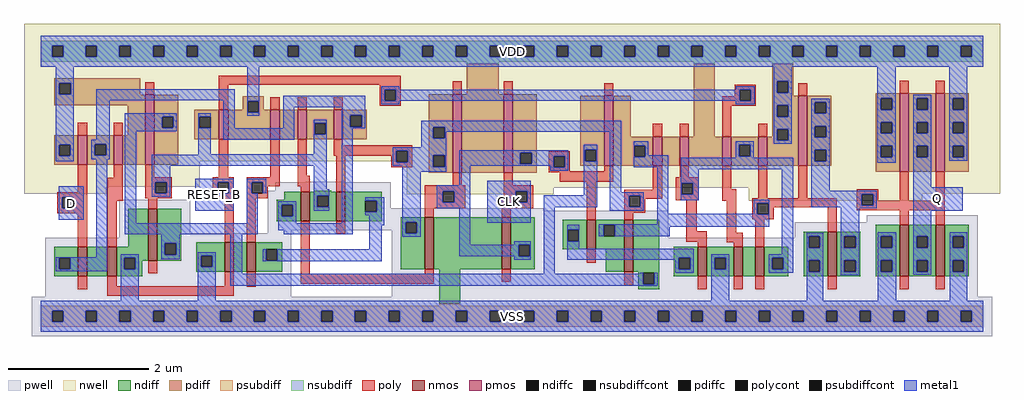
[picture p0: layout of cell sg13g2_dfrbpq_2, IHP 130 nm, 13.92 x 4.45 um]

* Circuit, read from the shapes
.subckt sg13g2_dfrbpq_2 CLK VSS D Q VDD RESET_B
XM1 n1 D n2 VSS sg13_lv_nmos w=0.42u l=0.13u
XM2 VSS RESET_B n1 VSS sg13_lv_nmos w=0.42u l=0.13u
XM3 n3 n4 VSS VSS sg13_lv_nmos w=0.74u l=0.13u
XM4 n5 RESET_B VSS VSS sg13_lv_nmos w=0.42u l=0.13u
XM5 n6 n3 n5 VSS sg13_lv_nmos w=0.42u l=0.13u
XM6 n4 n7 n2 VSS sg13_lv_nmos w=0.42u l=0.13u
XM7 n6 n8 n4 VSS sg13_lv_nmos w=0.42u l=0.13u
XM8 VSS n7 n8 VSS sg13_lv_nmos w=0.74u l=0.13u
XM9 n7 CLK VSS VSS sg13_lv_nmos w=0.74u l=0.13u
XM10 n9 n7 n10 VSS sg13_lv_nmos w=0.42u l=0.13u
XM11 n3 n8 n9 VSS sg13_lv_nmos w=0.74u l=0.13u
XM12 VSS n11 n10 VSS sg13_lv_nmos w=0.42u l=0.13u
XM13 n12 RESET_B VSS VSS sg13_lv_nmos w=0.42u l=0.13u
XM14 n11 n9 n12 VSS sg13_lv_nmos w=0.42u l=0.13u
XM15 n13 n9 VSS VSS sg13_lv_nmos w=0.64u l=0.13u
XM16 Q n13 VSS VSS sg13_lv_nmos w=0.74u l=0.13u m=2
XM17 n2 D VDD VDD sg13_lv_pmos w=0.42u l=0.13u
XM18 VDD RESET_B n2 VDD sg13_lv_pmos w=0.42u l=0.13u
XM19 n3 n4 VDD VDD sg13_lv_pmos w=1u l=0.13u
XM20 VDD RESET_B n4 VDD sg13_lv_pmos w=0.42u l=0.13u
XM21 n14 n3 VDD VDD sg13_lv_pmos w=0.42u l=0.13u
XM22 n4 n7 n14 VDD sg13_lv_pmos w=0.42u l=0.13u
XM23 n2 n8 n4 VDD sg13_lv_pmos w=0.42u l=0.13u
XM24 VDD n7 n8 VDD sg13_lv_pmos w=1.12u l=0.13u
XM25 n7 CLK VDD VDD sg13_lv_pmos w=1.12u l=0.13u
XM26 n9 n7 n3 VDD sg13_lv_pmos w=1u l=0.13u
XM27 n15 n8 n9 VDD sg13_lv_pmos w=0.42u l=0.13u
XM28 VDD n11 n15 VDD sg13_lv_pmos w=0.42u l=0.13u
XM29 n11 RESET_B VDD VDD sg13_lv_pmos w=0.42u l=0.13u
XM30 VDD n9 n11 VDD sg13_lv_pmos w=0.42u l=0.13u
XM31 n13 n9 VDD VDD sg13_lv_pmos w=1u l=0.13u
XM32 Q n13 VDD VDD sg13_lv_pmos w=1.12u l=0.13u m=2
.ends

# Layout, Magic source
magic
tech ihp-sg13g2
magscale 1 2
<< nwell >>
rect -48 443 2736 834
rect -48 370 454 443
rect -48 350 187 370
rect 1044 367 2736 443
rect 1044 348 1463 367
rect 2019 350 2736 367
rect 2019 330 2514 350
<< pwell >>
rect 755 382 855 384
rect 669 358 998 382
rect 223 237 426 333
rect 647 309 998 358
rect 647 301 1435 309
rect 647 246 1790 301
rect 2356 268 2673 288
rect 647 237 715 246
rect 223 224 715 237
rect 12 56 715 224
rect 1001 224 1790 246
rect 2150 224 2673 268
rect 1001 56 2673 224
rect -26 -56 2714 56
<< nmos >>
rect 106 114 132 198
rect 190 114 216 198
rect 306 159 332 307
rect 741 272 767 356
rect 843 272 869 356
rect 524 127 550 211
rect 587 127 613 211
rect 1095 135 1121 283
rect 1315 135 1341 283
rect 1557 191 1583 275
rect 1664 127 1690 275
rect 1874 114 1900 198
rect 1976 114 2002 198
rect 2038 114 2064 198
rect 2244 114 2270 242
rect 2450 114 2476 262
rect 2553 114 2579 262
<< pmos >>
rect 106 432 132 516
rect 208 432 234 516
rect 298 432 324 632
rect 508 505 534 589
rect 655 505 681 589
rect 733 505 759 589
rect 835 505 861 589
rect 1175 410 1201 634
rect 1320 410 1346 634
rect 1607 429 1633 629
rect 1746 429 1772 513
rect 1822 429 1848 513
rect 1944 429 1970 513
rect 2046 429 2072 513
rect 2160 429 2186 629
rect 2450 412 2476 636
rect 2553 412 2579 636
<< ndiff >>
rect 249 198 306 307
rect 38 167 106 198
rect 38 135 52 167
rect 84 135 106 167
rect 38 114 106 135
rect 132 114 190 198
rect 216 167 306 198
rect 216 135 238 167
rect 270 159 306 167
rect 332 208 400 307
rect 781 356 829 358
rect 695 332 741 356
rect 673 318 741 332
rect 673 286 687 318
rect 719 286 741 318
rect 673 272 741 286
rect 767 344 843 356
rect 767 312 789 344
rect 821 312 843 344
rect 767 272 843 312
rect 869 330 972 356
rect 869 298 926 330
rect 958 298 972 330
rect 869 272 972 298
rect 332 176 354 208
rect 386 176 400 208
rect 332 159 400 176
rect 443 173 524 211
rect 270 135 289 159
rect 216 114 289 135
rect 443 141 457 173
rect 489 141 524 173
rect 443 127 524 141
rect 550 127 587 211
rect 613 191 689 211
rect 613 159 643 191
rect 675 159 689 191
rect 613 127 689 159
rect 1027 269 1095 283
rect 1027 237 1041 269
rect 1073 237 1095 269
rect 1027 135 1095 237
rect 1121 135 1315 283
rect 1341 204 1409 283
rect 1341 172 1363 204
rect 1395 172 1409 204
rect 1489 247 1557 275
rect 1489 215 1503 247
rect 1535 215 1557 247
rect 1489 191 1557 215
rect 1583 261 1664 275
rect 1583 229 1605 261
rect 1637 229 1664 261
rect 1583 191 1664 229
rect 1341 135 1409 172
rect 1136 36 1196 135
rect 1612 127 1664 191
rect 1690 127 1764 275
rect 2176 228 2244 242
rect 1704 124 1764 127
rect 1704 92 1718 124
rect 1750 92 1764 124
rect 1806 167 1874 198
rect 1806 135 1820 167
rect 1852 135 1874 167
rect 1806 114 1874 135
rect 1900 167 1976 198
rect 1900 135 1922 167
rect 1954 135 1976 167
rect 1900 114 1976 135
rect 2002 114 2038 198
rect 2064 167 2132 198
rect 2064 135 2086 167
rect 2118 135 2132 167
rect 2064 114 2132 135
rect 2176 196 2190 228
rect 2222 196 2244 228
rect 2176 160 2244 196
rect 2176 128 2190 160
rect 2222 128 2244 160
rect 2176 114 2244 128
rect 2270 228 2338 242
rect 2270 196 2292 228
rect 2324 196 2338 228
rect 2270 160 2338 196
rect 2270 128 2292 160
rect 2324 128 2338 160
rect 2270 114 2338 128
rect 2382 228 2450 262
rect 2382 196 2396 228
rect 2428 196 2450 228
rect 2382 160 2450 196
rect 2382 128 2396 160
rect 2428 128 2450 160
rect 2382 114 2450 128
rect 2476 228 2553 262
rect 2476 196 2498 228
rect 2530 196 2553 228
rect 2476 160 2553 196
rect 2476 128 2498 160
rect 2530 128 2553 160
rect 2476 114 2553 128
rect 2579 228 2647 262
rect 2579 196 2601 228
rect 2633 196 2647 228
rect 2579 160 2647 196
rect 2579 128 2601 160
rect 2633 128 2647 160
rect 2579 114 2647 128
rect 1704 78 1764 92
<< pdiff >>
rect 38 665 283 679
rect 38 633 53 665
rect 85 633 283 665
rect 38 632 283 633
rect 38 602 298 632
rect 248 516 298 602
rect 38 490 106 516
rect 38 458 52 490
rect 84 458 106 490
rect 38 432 106 458
rect 132 491 208 516
rect 132 459 154 491
rect 186 459 208 491
rect 132 432 208 459
rect 234 432 298 516
rect 324 570 392 632
rect 576 614 636 628
rect 576 589 590 614
rect 324 538 346 570
rect 378 538 392 570
rect 324 432 392 538
rect 438 570 508 589
rect 438 538 452 570
rect 484 538 508 570
rect 438 505 508 538
rect 534 582 590 589
rect 622 589 636 614
rect 1215 634 1306 720
rect 622 582 655 589
rect 534 505 655 582
rect 681 505 733 589
rect 759 551 835 589
rect 759 519 781 551
rect 813 519 835 551
rect 759 505 835 519
rect 861 573 929 589
rect 861 541 883 573
rect 915 541 929 573
rect 861 505 929 541
rect 1106 540 1175 634
rect 1106 508 1120 540
rect 1152 508 1175 540
rect 1106 459 1175 508
rect 1106 427 1120 459
rect 1152 427 1175 459
rect 1106 410 1175 427
rect 1201 410 1320 634
rect 1346 467 1414 634
rect 1539 475 1607 629
rect 1346 435 1368 467
rect 1400 435 1414 467
rect 1346 410 1414 435
rect 1539 443 1553 475
rect 1585 443 1607 475
rect 1539 429 1607 443
rect 1633 513 1683 629
rect 1862 513 1922 720
rect 2086 670 2146 720
rect 2086 638 2100 670
rect 2132 638 2146 670
rect 2086 629 2146 638
rect 2086 602 2160 629
rect 2086 570 2100 602
rect 2132 570 2160 602
rect 2086 534 2160 570
rect 2086 513 2100 534
rect 1633 487 1746 513
rect 1633 455 1692 487
rect 1724 455 1746 487
rect 1633 429 1746 455
rect 1772 429 1822 513
rect 1848 429 1944 513
rect 1970 489 2046 513
rect 1970 457 1992 489
rect 2024 457 2046 489
rect 1970 429 2046 457
rect 2072 502 2100 513
rect 2132 502 2160 534
rect 2072 429 2160 502
rect 2186 611 2254 629
rect 2186 579 2208 611
rect 2240 579 2254 611
rect 2186 543 2254 579
rect 2186 511 2208 543
rect 2240 511 2254 543
rect 2186 475 2254 511
rect 2186 443 2208 475
rect 2240 443 2254 475
rect 2186 429 2254 443
rect 2382 622 2450 636
rect 2382 590 2396 622
rect 2428 590 2450 622
rect 2382 554 2450 590
rect 2382 522 2396 554
rect 2428 522 2450 554
rect 2382 486 2450 522
rect 2382 454 2396 486
rect 2428 454 2450 486
rect 2382 412 2450 454
rect 2476 622 2553 636
rect 2476 590 2498 622
rect 2530 590 2553 622
rect 2476 554 2553 590
rect 2476 522 2498 554
rect 2530 522 2553 554
rect 2476 486 2553 522
rect 2476 454 2498 486
rect 2530 454 2553 486
rect 2476 412 2553 454
rect 2579 622 2647 636
rect 2579 590 2601 622
rect 2633 590 2647 622
rect 2579 554 2647 590
rect 2579 522 2601 554
rect 2633 522 2647 554
rect 2579 486 2647 522
rect 2579 454 2601 486
rect 2633 454 2647 486
rect 2579 412 2647 454
<< ndiffc >>
rect 52 135 84 167
rect 238 135 270 167
rect 687 286 719 318
rect 789 312 821 344
rect 926 298 958 330
rect 354 176 386 208
rect 457 141 489 173
rect 643 159 675 191
rect 1041 237 1073 269
rect 1363 172 1395 204
rect 1503 215 1535 247
rect 1605 229 1637 261
rect 1718 92 1750 124
rect 1820 135 1852 167
rect 1922 135 1954 167
rect 2086 135 2118 167
rect 2190 196 2222 228
rect 2190 128 2222 160
rect 2292 196 2324 228
rect 2292 128 2324 160
rect 2396 196 2428 228
rect 2396 128 2428 160
rect 2498 196 2530 228
rect 2498 128 2530 160
rect 2601 196 2633 228
rect 2601 128 2633 160
<< pdiffc >>
rect 53 633 85 665
rect 52 458 84 490
rect 154 459 186 491
rect 346 538 378 570
rect 452 538 484 570
rect 590 582 622 614
rect 781 519 813 551
rect 883 541 915 573
rect 1120 508 1152 540
rect 1120 427 1152 459
rect 1368 435 1400 467
rect 1553 443 1585 475
rect 2100 638 2132 670
rect 2100 570 2132 602
rect 1692 455 1724 487
rect 1992 457 2024 489
rect 2100 502 2132 534
rect 2208 579 2240 611
rect 2208 511 2240 543
rect 2208 443 2240 475
rect 2396 590 2428 622
rect 2396 522 2428 554
rect 2396 454 2428 486
rect 2498 590 2530 622
rect 2498 522 2530 554
rect 2498 454 2530 486
rect 2601 590 2633 622
rect 2601 522 2633 554
rect 2601 454 2633 486
<< psubdiff >>
rect 1136 30 1196 36
rect 0 16 2688 30
rect 0 -16 32 16
rect 64 -16 128 16
rect 160 -16 224 16
rect 256 -16 320 16
rect 352 -16 416 16
rect 448 -16 512 16
rect 544 -16 608 16
rect 640 -16 704 16
rect 736 -16 800 16
rect 832 -16 896 16
rect 928 -16 992 16
rect 1024 -16 1088 16
rect 1120 -16 1184 16
rect 1216 -16 1280 16
rect 1312 -16 1376 16
rect 1408 -16 1472 16
rect 1504 -16 1568 16
rect 1600 -16 1664 16
rect 1696 -16 1760 16
rect 1792 -16 1856 16
rect 1888 -16 1952 16
rect 1984 -16 2048 16
rect 2080 -16 2144 16
rect 2176 -16 2240 16
rect 2272 -16 2336 16
rect 2368 -16 2432 16
rect 2464 -16 2528 16
rect 2560 -16 2624 16
rect 2656 -16 2688 16
rect 0 -30 2688 -16
<< nsubdiff >>
rect 0 772 2688 786
rect 0 740 32 772
rect 64 740 128 772
rect 160 740 224 772
rect 256 740 320 772
rect 352 740 416 772
rect 448 740 512 772
rect 544 740 608 772
rect 640 740 704 772
rect 736 740 800 772
rect 832 740 896 772
rect 928 740 992 772
rect 1024 740 1088 772
rect 1120 740 1184 772
rect 1216 740 1280 772
rect 1312 740 1376 772
rect 1408 740 1472 772
rect 1504 740 1568 772
rect 1600 740 1664 772
rect 1696 740 1760 772
rect 1792 740 1856 772
rect 1888 740 1952 772
rect 1984 740 2048 772
rect 2080 740 2144 772
rect 2176 740 2240 772
rect 2272 740 2336 772
rect 2368 740 2432 772
rect 2464 740 2528 772
rect 2560 740 2624 772
rect 2656 740 2688 772
rect 0 726 2688 740
rect 1215 720 1306 726
rect 1862 720 1922 726
rect 2086 720 2146 726
<< psubdiffcont >>
rect 32 -16 64 16
rect 128 -16 160 16
rect 224 -16 256 16
rect 320 -16 352 16
rect 416 -16 448 16
rect 512 -16 544 16
rect 608 -16 640 16
rect 704 -16 736 16
rect 800 -16 832 16
rect 896 -16 928 16
rect 992 -16 1024 16
rect 1088 -16 1120 16
rect 1184 -16 1216 16
rect 1280 -16 1312 16
rect 1376 -16 1408 16
rect 1472 -16 1504 16
rect 1568 -16 1600 16
rect 1664 -16 1696 16
rect 1760 -16 1792 16
rect 1856 -16 1888 16
rect 1952 -16 1984 16
rect 2048 -16 2080 16
rect 2144 -16 2176 16
rect 2240 -16 2272 16
rect 2336 -16 2368 16
rect 2432 -16 2464 16
rect 2528 -16 2560 16
rect 2624 -16 2656 16
<< nsubdiffcont >>
rect 32 740 64 772
rect 128 740 160 772
rect 224 740 256 772
rect 320 740 352 772
rect 416 740 448 772
rect 512 740 544 772
rect 608 740 640 772
rect 704 740 736 772
rect 800 740 832 772
rect 896 740 928 772
rect 992 740 1024 772
rect 1088 740 1120 772
rect 1184 740 1216 772
rect 1280 740 1312 772
rect 1376 740 1408 772
rect 1472 740 1504 772
rect 1568 740 1600 772
rect 1664 740 1696 772
rect 1760 740 1792 772
rect 1856 740 1888 772
rect 1952 740 1984 772
rect 2048 740 2080 772
rect 2144 740 2176 772
rect 2240 740 2272 772
rect 2336 740 2368 772
rect 2432 740 2464 772
rect 2528 740 2560 772
rect 2624 740 2656 772
<< poly >>
rect 298 632 324 668
rect 508 661 1027 687
rect 106 516 132 552
rect 208 516 234 552
rect 508 589 534 661
rect 967 647 1027 661
rect 655 589 681 625
rect 733 589 759 625
rect 835 589 861 625
rect 967 615 981 647
rect 1013 615 1027 647
rect 1175 634 1201 670
rect 1320 634 1346 670
rect 967 601 1027 615
rect 106 354 132 432
rect 208 396 234 432
rect 47 340 132 354
rect 47 308 61 340
rect 93 308 132 340
rect 47 294 132 308
rect 106 198 132 294
rect 190 330 234 396
rect 298 397 324 432
rect 508 397 534 505
rect 655 397 681 505
rect 298 383 373 397
rect 298 351 327 383
rect 359 351 373 383
rect 298 337 373 351
rect 490 383 550 397
rect 490 351 504 383
rect 536 351 550 383
rect 490 337 550 351
rect 190 198 216 330
rect 306 307 332 337
rect 524 211 550 337
rect 587 383 681 397
rect 587 351 601 383
rect 633 371 681 383
rect 733 401 759 505
rect 835 488 861 505
rect 835 472 1060 488
rect 835 458 1014 472
rect 733 371 767 401
rect 633 351 647 371
rect 741 356 767 371
rect 843 356 869 458
rect 1000 440 1014 458
rect 1046 440 1060 472
rect 1000 425 1060 440
rect 1607 629 1633 665
rect 1449 457 1509 471
rect 1449 425 1463 457
rect 1495 425 1509 457
rect 1746 513 1772 549
rect 1822 513 1848 549
rect 1979 647 2039 661
rect 1979 628 1993 647
rect 1944 615 1993 628
rect 2025 615 2039 647
rect 1944 601 2039 615
rect 2160 629 2186 665
rect 2450 636 2476 672
rect 2553 636 2579 672
rect 1944 513 1970 601
rect 2046 513 2072 549
rect 1449 414 1509 425
rect 1607 414 1633 429
rect 1449 411 1633 414
rect 1175 374 1201 410
rect 1320 374 1346 410
rect 1480 384 1633 411
rect 1095 357 1210 374
rect 587 337 647 351
rect 587 211 613 337
rect 1095 325 1147 357
rect 1179 325 1210 357
rect 1320 357 1404 374
rect 1320 338 1355 357
rect 1095 308 1210 325
rect 1315 325 1355 338
rect 1387 325 1404 357
rect 1315 308 1404 325
rect 1095 283 1121 308
rect 1315 283 1341 308
rect 306 123 332 159
rect 106 78 132 114
rect 190 86 216 114
rect 524 86 550 127
rect 190 59 550 86
rect 587 85 613 127
rect 741 121 767 272
rect 843 236 869 272
rect 1557 275 1583 384
rect 1746 361 1772 429
rect 1822 397 1848 429
rect 1664 344 1772 361
rect 1664 312 1678 344
rect 1710 335 1772 344
rect 1811 380 1877 397
rect 1811 348 1828 380
rect 1860 348 1877 380
rect 1710 312 1724 335
rect 1811 331 1877 348
rect 1944 363 1970 429
rect 1664 295 1724 312
rect 1664 275 1690 295
rect 1557 153 1583 191
rect 1095 121 1121 135
rect 741 93 1121 121
rect 1315 99 1341 135
rect 1841 243 1871 331
rect 1944 330 1983 363
rect 2046 337 2072 429
rect 2160 337 2186 429
rect 2328 349 2388 363
rect 1841 213 1900 243
rect 1874 198 1900 213
rect 1957 239 1983 330
rect 2030 323 2270 337
rect 2030 291 2044 323
rect 2076 311 2270 323
rect 2076 291 2090 311
rect 2030 277 2090 291
rect 1957 212 2002 239
rect 1976 198 2002 212
rect 2038 198 2064 277
rect 2244 242 2270 311
rect 2328 317 2342 349
rect 2374 330 2388 349
rect 2450 330 2476 412
rect 2553 330 2579 412
rect 2374 317 2579 330
rect 2328 303 2579 317
rect 2450 262 2476 303
rect 2553 262 2579 303
rect 1664 89 1690 127
rect 1874 78 1900 114
rect 1976 78 2002 114
rect 2038 78 2064 114
rect 2244 78 2270 114
rect 2450 78 2476 114
rect 2553 78 2579 114
<< polycont >>
rect 981 615 1013 647
rect 61 308 93 340
rect 327 351 359 383
rect 504 351 536 383
rect 601 351 633 383
rect 1014 440 1046 472
rect 1463 425 1495 457
rect 1993 615 2025 647
rect 1147 325 1179 357
rect 1355 325 1387 357
rect 1678 312 1710 344
rect 1828 348 1860 380
rect 2044 291 2076 323
rect 2342 317 2374 349
<< metal1 >>
rect 0 772 2688 800
rect 0 740 32 772
rect 64 740 128 772
rect 160 740 224 772
rect 256 740 320 772
rect 352 740 416 772
rect 448 740 512 772
rect 544 740 608 772
rect 640 740 704 772
rect 736 740 800 772
rect 832 740 896 772
rect 928 740 992 772
rect 1024 740 1088 772
rect 1120 740 1184 772
rect 1216 740 1280 772
rect 1312 740 1376 772
rect 1408 740 1472 772
rect 1504 740 1568 772
rect 1600 740 1664 772
rect 1696 740 1760 772
rect 1792 740 1856 772
rect 1888 740 1952 772
rect 1984 740 2048 772
rect 2080 740 2144 772
rect 2176 740 2240 772
rect 2272 740 2336 772
rect 2368 740 2432 772
rect 2464 740 2528 772
rect 2560 740 2624 772
rect 2656 740 2688 772
rect 0 712 2688 740
rect 43 665 94 712
rect 43 633 53 665
rect 85 633 94 665
rect 43 490 94 633
rect 158 616 553 648
rect 158 504 196 616
rect 43 458 52 490
rect 84 458 94 490
rect 43 443 94 458
rect 144 491 196 504
rect 144 459 154 491
rect 186 459 196 491
rect 144 448 196 459
rect 240 570 388 580
rect 240 538 346 570
rect 378 538 388 570
rect 240 528 388 538
rect 449 570 485 580
rect 449 538 452 570
rect 484 538 485 570
rect 51 340 122 371
rect 51 308 61 340
rect 93 308 122 340
rect 51 275 122 308
rect 158 168 190 448
rect 240 266 272 528
rect 449 463 485 538
rect 521 536 553 616
rect 589 614 623 712
rect 2090 670 2142 712
rect 971 647 1023 657
rect 1982 647 2036 657
rect 589 582 590 614
rect 622 582 623 614
rect 589 572 623 582
rect 691 597 925 629
rect 971 615 981 647
rect 1013 615 1993 647
rect 2025 615 2036 647
rect 971 605 1023 615
rect 1982 605 2036 615
rect 2090 638 2100 670
rect 2132 638 2142 670
rect 691 536 723 597
rect 858 573 925 597
rect 521 504 723 536
rect 778 551 815 561
rect 778 519 781 551
rect 813 519 815 551
rect 778 463 815 519
rect 449 461 815 463
rect 317 429 815 461
rect 317 383 369 429
rect 317 351 327 383
rect 359 351 369 383
rect 317 341 369 351
rect 440 383 550 393
rect 440 351 504 383
rect 536 351 550 383
rect 440 302 550 351
rect 587 383 643 393
rect 587 351 601 383
rect 633 351 643 383
rect 778 362 815 429
rect 858 541 883 573
rect 915 541 925 573
rect 2090 602 2142 638
rect 2386 622 2438 712
rect 2090 570 2100 602
rect 2132 570 2142 602
rect 858 537 925 541
rect 1085 540 1655 558
rect 587 266 619 351
rect 778 344 822 362
rect 240 234 619 266
rect 677 318 729 328
rect 677 286 687 318
rect 719 286 729 318
rect 778 312 789 344
rect 821 312 822 344
rect 778 302 822 312
rect 677 266 729 286
rect 858 266 890 537
rect 1085 508 1120 540
rect 1152 526 1655 540
rect 1152 508 1157 526
rect 1085 482 1157 508
rect 1004 472 1157 482
rect 1549 475 1587 490
rect 1004 440 1014 472
rect 1046 459 1157 472
rect 1046 440 1120 459
rect 1004 430 1120 440
rect 1031 427 1120 430
rect 1152 427 1157 459
rect 1031 412 1157 427
rect 1193 467 1505 474
rect 1193 435 1368 467
rect 1400 457 1505 467
rect 1400 435 1463 457
rect 1193 429 1463 435
rect 926 330 979 340
rect 958 298 979 330
rect 926 288 979 298
rect 677 245 890 266
rect 693 234 890 245
rect 937 260 979 288
rect 1031 269 1083 412
rect 1193 374 1225 429
rect 1453 425 1463 429
rect 1495 425 1505 457
rect 1453 415 1505 425
rect 1549 443 1553 475
rect 1585 443 1587 475
rect 1130 357 1225 374
rect 1130 325 1147 357
rect 1179 325 1225 357
rect 1130 308 1225 325
rect 344 208 396 234
rect 42 167 190 168
rect 42 135 52 167
rect 84 135 190 167
rect 42 129 190 135
rect 228 167 280 177
rect 228 135 238 167
rect 270 135 280 167
rect 344 176 354 208
rect 386 176 396 208
rect 344 163 396 176
rect 447 173 499 183
rect 228 44 280 135
rect 447 141 457 173
rect 489 141 499 173
rect 447 44 499 141
rect 541 121 575 234
rect 937 192 973 260
rect 1031 237 1041 269
rect 1073 237 1083 269
rect 1031 227 1083 237
rect 633 191 973 192
rect 633 159 643 191
rect 675 159 973 191
rect 1193 205 1225 308
rect 1273 357 1398 387
rect 1273 325 1355 357
rect 1387 325 1398 357
rect 1549 345 1587 443
rect 1273 267 1398 325
rect 1434 311 1587 345
rect 1623 354 1655 526
rect 2090 534 2142 570
rect 2090 502 2100 534
rect 2132 502 2142 534
rect 1691 487 1732 500
rect 1691 455 1692 487
rect 1724 459 1732 487
rect 1982 489 2034 499
rect 2090 492 2142 502
rect 2198 611 2250 621
rect 2198 579 2208 611
rect 2240 579 2250 611
rect 2198 543 2250 579
rect 2198 511 2208 543
rect 2240 511 2250 543
rect 1724 455 1790 459
rect 1691 425 1790 455
rect 1982 457 1992 489
rect 2024 457 2034 489
rect 1982 452 2034 457
rect 2198 475 2250 511
rect 1623 344 1720 354
rect 1623 312 1678 344
rect 1710 312 1720 344
rect 1351 205 1398 214
rect 1193 204 1398 205
rect 1193 172 1363 204
rect 1395 172 1398 204
rect 1193 171 1398 172
rect 1351 162 1398 171
rect 633 157 973 159
rect 1434 121 1466 311
rect 1623 302 1720 312
rect 1758 293 1790 425
rect 1826 420 2146 452
rect 1826 380 1877 420
rect 1826 348 1828 380
rect 1860 348 1877 380
rect 1826 331 1877 348
rect 2033 323 2078 333
rect 2033 293 2044 323
rect 1758 291 2044 293
rect 2076 291 2078 323
rect 1758 263 2078 291
rect 1502 247 1536 262
rect 1502 215 1503 247
rect 1535 215 1536 247
rect 1592 261 2078 263
rect 1592 229 1605 261
rect 1637 255 2078 261
rect 1637 229 1794 255
rect 1502 193 1536 215
rect 1502 167 1862 193
rect 2114 177 2146 420
rect 2198 443 2208 475
rect 2240 443 2250 475
rect 2198 359 2250 443
rect 2386 590 2396 622
rect 2428 590 2438 622
rect 2386 554 2438 590
rect 2386 522 2396 554
rect 2428 522 2438 554
rect 2386 486 2438 522
rect 2386 454 2396 486
rect 2428 454 2438 486
rect 2386 438 2438 454
rect 2488 622 2540 632
rect 2488 590 2498 622
rect 2530 590 2540 622
rect 2488 554 2540 590
rect 2488 522 2498 554
rect 2530 522 2540 554
rect 2488 486 2540 522
rect 2488 454 2498 486
rect 2530 454 2540 486
rect 2488 369 2540 454
rect 2591 622 2643 712
rect 2591 590 2601 622
rect 2633 590 2643 622
rect 2591 554 2643 590
rect 2591 522 2601 554
rect 2633 522 2643 554
rect 2591 486 2643 522
rect 2591 454 2601 486
rect 2633 454 2643 486
rect 2591 444 2643 454
rect 2198 349 2384 359
rect 2198 317 2342 349
rect 2374 317 2384 349
rect 2198 311 2384 317
rect 2282 308 2384 311
rect 1502 161 1820 167
rect 1810 135 1820 161
rect 1852 135 1862 167
rect 1810 125 1862 135
rect 1912 167 1964 177
rect 1912 135 1922 167
rect 1954 135 1964 167
rect 1708 124 1760 125
rect 1708 121 1718 124
rect 541 92 1718 121
rect 1750 92 1760 124
rect 541 88 1760 92
rect 1912 44 1964 135
rect 2076 167 2146 177
rect 2076 135 2086 167
rect 2118 135 2146 167
rect 2076 125 2146 135
rect 2185 228 2232 238
rect 2185 196 2190 228
rect 2222 196 2232 228
rect 2185 160 2232 196
rect 2185 128 2190 160
rect 2222 128 2232 160
rect 2185 44 2232 128
rect 2282 228 2334 308
rect 2488 301 2630 369
rect 2282 196 2292 228
rect 2324 196 2334 228
rect 2282 160 2334 196
rect 2282 128 2292 160
rect 2324 128 2334 160
rect 2282 118 2334 128
rect 2387 228 2440 240
rect 2387 196 2396 228
rect 2428 196 2440 228
rect 2387 160 2440 196
rect 2387 128 2396 160
rect 2428 128 2440 160
rect 2387 44 2440 128
rect 2488 228 2540 301
rect 2488 196 2498 228
rect 2530 196 2540 228
rect 2488 160 2540 196
rect 2488 128 2498 160
rect 2530 128 2540 160
rect 2488 119 2540 128
rect 2592 228 2643 240
rect 2592 196 2601 228
rect 2633 196 2643 228
rect 2592 160 2643 196
rect 2592 128 2601 160
rect 2633 128 2643 160
rect 2592 44 2643 128
rect 0 16 2688 44
rect 0 -16 32 16
rect 64 -16 128 16
rect 160 -16 224 16
rect 256 -16 320 16
rect 352 -16 416 16
rect 448 -16 512 16
rect 544 -16 608 16
rect 640 -16 704 16
rect 736 -16 800 16
rect 832 -16 896 16
rect 928 -16 992 16
rect 1024 -16 1088 16
rect 1120 -16 1184 16
rect 1216 -16 1280 16
rect 1312 -16 1376 16
rect 1408 -16 1472 16
rect 1504 -16 1568 16
rect 1600 -16 1664 16
rect 1696 -16 1760 16
rect 1792 -16 1856 16
rect 1888 -16 1952 16
rect 1984 -16 2048 16
rect 2080 -16 2144 16
rect 2176 -16 2240 16
rect 2272 -16 2336 16
rect 2368 -16 2432 16
rect 2464 -16 2528 16
rect 2560 -16 2624 16
rect 2656 -16 2688 16
rect 0 -44 2688 -16
<< labels >>
flabel metal1 s 1273 267 1398 387 0 FreeSans 400 0 0 0 CLK
port 2 nsew
flabel metal1 s 0 -44 2688 44 0 FreeSans 400 0 0 0 VSS
port 3 nsew
flabel metal1 s 51 275 122 371 0 FreeSans 340 0 0 0 D
port 4 nsew
flabel metal1 s 2488 301 2630 369 0 FreeSans 340 0 0 0 Q
port 5 nsew
flabel metal1 s 0 712 2688 800 0 FreeSans 400 0 0 0 VDD
port 6 nsew
flabel metal1 s 440 302 550 393 0 FreeSans 400 0 0 0 RESET_B
port 7 nsew
<< properties >>
string FIXED_BBOX 0 0 2688 756
string GDS_END 94406
string GDS_FILE 6_final.gds
string GDS_START 79402
<< end >>
